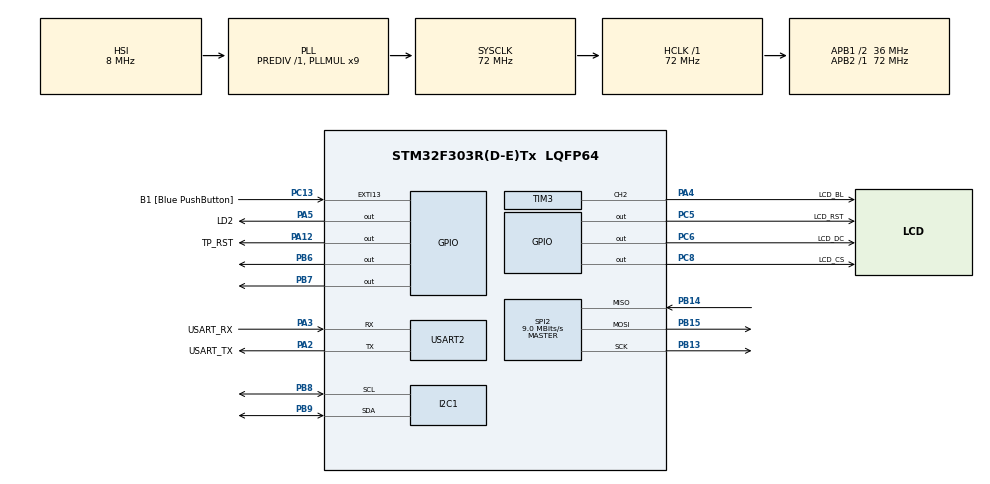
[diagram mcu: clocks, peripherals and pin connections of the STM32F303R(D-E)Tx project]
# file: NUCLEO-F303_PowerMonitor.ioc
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Dma.Request0=SPI2_TX
Dma.SPI2_TX.0.Direction=DMA_MEMORY_TO_PERIPH
Dma.SPI2_TX.0.Instance=DMA1_Channel5
Dma.SPI2_TX.0.MemDataAlignment=DMA_MDATAALIGN_BYTE
Dma.SPI2_TX.0.MemInc=DMA_MINC_ENABLE
Dma.SPI2_TX.0.Mode=DMA_NORMAL
Dma.SPI2_TX.0.PeriphDataAlignment=DMA_PDATAALIGN_BYTE
Dma.SPI2_TX.0.PeriphInc=DMA_PINC_DISABLE
Dma.SPI2_TX.0.Priority=DMA_PRIORITY_LOW
I2C1.Timing=0x00201D2B
Mcu.Family=STM32F3
Mcu.Name=STM32F303R(D-E)Tx
Mcu.Package=LQFP64
NVIC.DMA1_Channel5_IRQn=true\:0\:0\:false\:false\:true\:false\:true\:true
NVIC.PriorityGroup=NVIC_PRIORITYGROUP_0
PA12.GPIO_Label=TP_RST
PA12.Signal=GPIO_Output
PA13.GPIO_Label=TMS
PA13.Mode=Serial_Wire
PA13.Signal=SYS_JTMS-SWDIO
PA14.GPIO_Label=TCK
PA14.Mode=Serial_Wire
PA14.Signal=SYS_JTCK-SWCLK
PA2.GPIO_Label=USART_TX
PA2.GPIO_Mode=GPIO_MODE_AF_PP
PA2.GPIO_PuPd=GPIO_NOPULL
PA2.GPIO_Speed=GPIO_SPEED_FREQ_LOW
PA2.Mode=Asynchronous
PA2.Signal=USART2_TX
PA3.GPIO_Label=USART_RX
PA3.GPIO_Mode=GPIO_MODE_AF_PP
PA3.GPIO_PuPd=GPIO_NOPULL
PA3.GPIO_Speed=GPIO_SPEED_FREQ_LOW
PA3.Mode=Asynchronous
PA3.Signal=USART2_RX
PA4.GPIO_Label=LCD_BL
PA4.Signal=S_TIM3_CH2
PA5.GPIO_Label=LD2
PA5.Signal=GPIO_Output
PB13.Mode=Full_Duplex_Master
PB13.Signal=SPI2_SCK
PB14.Mode=Full_Duplex_Master
PB14.Signal=SPI2_MISO
PB15.Mode=Full_Duplex_Master
PB15.Signal=SPI2_MOSI
PB3.GPIO_Label=SWO
PB3.Signal=SYS_JTDO-TRACESWO
PB6.Signal=GPIO_Output
PB7.Signal=GPIO_Output
PB8.GPIO_Pu=GPIO_NOPULL
PB8.Mode=I2C
PB8.Signal=I2C1_SCL
PB9.GPIO_Pu=GPIO_NOPULL
PB9.Mode=I2C
PB9.Signal=I2C1_SDA
PC13.GPIO_Label=B1 [Blue PushButton]
PC13.GPIO_ModeDefaultEXTI=GPIO_MODE_IT_FALLING
PC13.Signal=GPXTI13
PC14-OSC32_IN.Mode=LSE-External-Oscillator
PC14-OSC32_IN.Signal=RCC_OSC32_IN
PC15-OSC32_OUT.Mode=LSE-External-Oscillator
PC15-OSC32_OUT.Signal=RCC_OSC32_OUT
PC5.GPIO_Label=LCD_RST
PC5.GPIO_Speed=GPIO_SPEED_FREQ_HIGH
PC5.Signal=GPIO_Output
PC6.GPIO_Label=LCD_DC
PC6.GPIO_Speed=GPIO_SPEED_FREQ_HIGH
PC6.Signal=GPIO_Output
PC8.GPIO_Label=LCD_CS
PC8.GPIO_Speed=GPIO_SPEED_FREQ_HIGH
PC8.Signal=GPIO_Output
PF0-OSC_IN.Mode=HSE-External-Clock-Source
PF0-OSC_IN.Signal=RCC_OSC_IN
PF1-OSC_OUT.Signal=RCC_OSC_OUT
ProjectManager.HeapSize=0x200
ProjectManager.StackSize=0x400
ProjectManager.TargetToolchain=CMake
RCC.AHBFreq_Value=72000000
RCC.APB1CLKDivider=RCC_HCLK_DIV2
RCC.APB1Freq_Value=36000000
RCC.APB1TimFreq_Value=72000000
RCC.APB2Freq_Value=72000000
RCC.APB2TimFreq_Value=72000000
RCC.CortexFreq_Value=72000000
RCC.HCLKFreq_Value=72000000
RCC.HSE_VALUE=8000000
RCC.HSI_VALUE=8000000
RCC.PLLM=8
RCC.PLLMUL=RCC_PLL_MUL9
RCC.PLLN=336
RCC.PLLP=RCC_PLLP_DIV4
RCC.PLLQ=7
RCC.RCC_PLLsource_Clock_Source_FROM_HSE=RCC_HSE_PREDIV_DIV2
RCC.SYSCLKFreq_VALUE=72000000
RCC.SYSCLKSourceVirtual=RCC_SYSCLKSOURCE_PLLCLK
RCC.USBFreq_Value=72000000
SH.S_TIM3_CH2.0=TIM3_CH2,PWM Generation2 CH2
SPI2.BaudRatePrescaler=SPI_BAUDRATEPRESCALER_4
SPI2.CalculateBaudRate=9.0 MBits/s
SPI2.DataSize=SPI_DATASIZE_8BIT
SPI2.Direction=SPI_DIRECTION_2LINES
SPI2.Mode=SPI_MODE_MASTER
SPI2.VirtualType=VM_MASTER
TIM3.Channel-PWM\ Generation2\ CH2=TIM_CHANNEL_2
TIM3.Period=1000-1
TIM3.Prescaler=72-1
TIM3.Pulse-PWM\ Generation2\ CH2=500
USART2.VirtualMode-Asynchronous=VM_ASYNC
VP_TIM3_VS_ClockSourceINT.Mode=Internal
board=NUCLEO-F303RE

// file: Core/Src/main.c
/* USER CODE BEGIN Header */
/**
  ******************************************************************************
  * @file           : main.c
  * @brief          : Main program body
  ******************************************************************************
  * @attention
  *
  * Copyright (c) 2026 STMicroelectronics.
  * All rights reserved.
  *
  * This software is licensed under terms that can be found in the LICENSE file
  * in the root directory of this software component.
  * If no LICENSE file comes with this software, it is provided AS-IS.
  *
  ******************************************************************************
  */
/* USER CODE END Header */
#include "main.h"

/* USER CODE BEGIN Includes */
#include "lv_obj_event.h"
#include "lvgl.h"
#include "Display_Driver.h"
#include "ui.h"
#include "screens.h"
#include "power_sim.h"
#include "ui_events.h"
#include "settings_mgr.h"
#include "stm32f3xx_hal.h"
/* USER CODE END Includes */

I2C_HandleTypeDef hi2c1;

SPI_HandleTypeDef hspi2;
DMA_HandleTypeDef hdma_spi2_tx;

TIM_HandleTypeDef htim3;

UART_HandleTypeDef huart2;

/* USER CODE BEGIN PV */
static uint32_t last_sim_tick = 0;
static uint32_t last_sec_tick = 0;
/* USER CODE END PV */

void SystemClock_Config(void);
static void MX_GPIO_Init(void);
static void MX_DMA_Init(void);
static void MX_I2C1_Init(void);
static void MX_USART2_UART_Init(void);
static void MX_TIM3_Init(void);
static void MX_SPI2_Init(void);

int main(void)
{

  /* MCU Configuration--------------------------------------------------------*/

  /* Reset of all peripherals, Initializes the Flash interface and the Systick. */
  HAL_Init();

  /* Configure the system clock */
  SystemClock_Config();

  /* Initialize all configured peripherals */
  MX_GPIO_Init();
  MX_DMA_Init();
  MX_I2C1_Init();
  MX_USART2_UART_Init();
  MX_TIM3_Init();
  MX_SPI2_Init();
  /* USER CODE BEGIN 2 */
  lv_init();
  Settings_Init(); // Cargar ajustes de la flash al arrancar

  Display_Config_HandleTypeDef disp_cfg = {
    .lcd = {
      .hspi       = &hspi2,
      .CS_Port    = LCD_CS_GPIO_Port,
      .CS_Pin     = LCD_CS_Pin,
      .DC_Port    = LCD_DC_GPIO_Port,
      .DC_Pin     = LCD_DC_Pin,
      .RST_Port   = LCD_RST_GPIO_Port,
      .RST_Pin    = LCD_RST_Pin,
      .htim_bl    = &htim3,
      .Channel_bl = TIM_CHANNEL_2
    },
    .touch = {
      .hi2c       = &hi2c1,
      .RST_Port   = TP_RST_GPIO_Port,
      .RST_Pin    = TP_RST_Pin,
      .INT_Port   = NULL,
      .INT_Pin    = 0
    }
  };

  Display_Init(&disp_cfg);
  Display_SetBrightness(g_user_settings.brightness);

  /* Prueba directa: Pintar la pantalla de azul puro (0x001F) */
  //ST7789_TestFill(0x001F);

  ui_init();
  UI_Events_Init();
  PowerSim_Init();

  /* USER CODE END 2 */

  /* Infinite loop */
  /* USER CODE BEGIN WHILE */

  while (1)
  {
    ui_tick();           /* Manejador de pantallas/animaciones de EEZ Studio */
    lv_timer_handler();  /* Manejador principal de LVGL */

    uint32_t current_tick = HAL_GetTick();

     /* --- HEARTBEAT LED (PA5 / LD2): Destello constante cada 500ms --- */
    static uint32_t last_heartbeat = 0;
    if (current_tick - last_heartbeat >= 500)
    {
        last_heartbeat = current_tick;
        HAL_GPIO_TogglePin(GPIOA, GPIO_PIN_5);
    }

    /* Actualizar lecturas simuladas cada 100ms */
    if (current_tick - last_sim_tick >= 100) {
        uint32_t delta = current_tick - last_sim_tick;
        last_sim_tick = current_tick;
        PowerSim_Update(delta);
        PowerSim_UpdateUI();
    }
    /* Incrementar contador de tiempo (Runtime) cada 1 segundo */
    if (current_tick - last_sec_tick >= 1000) {
        last_sec_tick = current_tick;
        g_power_sim.runtime_sec++;
    }

    HAL_Delay(5);
    /* USER CODE END WHILE */

  }
}

void SystemClock_Config(void)
{
  RCC_OscInitTypeDef RCC_OscInitStruct = {0};
  RCC_ClkInitTypeDef RCC_ClkInitStruct = {0};
  RCC_PeriphCLKInitTypeDef PeriphClkInit = {0};

  /** Initializes the RCC Oscillators according to the specified parameters
  * in the RCC_OscInitTypeDef structure.
  */
  RCC_OscInitStruct.OscillatorType = RCC_OSCILLATORTYPE_HSI;
  RCC_OscInitStruct.HSIState = RCC_HSI_ON;
  RCC_OscInitStruct.HSICalibrationValue = RCC_HSICALIBRATION_DEFAULT;
  RCC_OscInitStruct.PLL.PLLState = RCC_PLL_ON;
  RCC_OscInitStruct.PLL.PLLSource = RCC_PLLSOURCE_HSI;
  RCC_OscInitStruct.PLL.PLLMUL = RCC_PLL_MUL9;
  RCC_OscInitStruct.PLL.PREDIV = RCC_PREDIV_DIV1;
  if (HAL_RCC_OscConfig(&RCC_OscInitStruct) != HAL_OK)
  {
    Error_Handler();
  }

  /** Initializes the CPU, AHB and APB buses clocks
  */
  RCC_ClkInitStruct.ClockType = RCC_CLOCKTYPE_HCLK|RCC_CLOCKTYPE_SYSCLK
                              |RCC_CLOCKTYPE_PCLK1|RCC_CLOCKTYPE_PCLK2;
  RCC_ClkInitStruct.SYSCLKSource = RCC_SYSCLKSOURCE_PLLCLK;
  RCC_ClkInitStruct.AHBCLKDivider = RCC_SYSCLK_DIV1;
  RCC_ClkInitStruct.APB1CLKDivider = RCC_HCLK_DIV2;
  RCC_ClkInitStruct.APB2CLKDivider = RCC_HCLK_DIV1;

  if (HAL_RCC_ClockConfig(&RCC_ClkInitStruct, FLASH_LATENCY_2) != HAL_OK)
  {
    Error_Handler();
  }
  PeriphClkInit.PeriphClockSelection = RCC_PERIPHCLK_USART2|RCC_PERIPHCLK_I2C1
                              |RCC_PERIPHCLK_TIM34;
  PeriphClkInit.Usart2ClockSelection = RCC_USART2CLKSOURCE_PCLK1;
  PeriphClkInit.I2c1ClockSelection = RCC_I2C1CLKSOURCE_HSI;
  PeriphClkInit.Tim34ClockSelection = RCC_TIM34CLK_HCLK;
  if (HAL_RCCEx_PeriphCLKConfig(&PeriphClkInit) != HAL_OK)
  {
    Error_Handler();
  }
}

static void MX_I2C1_Init(void)
{

  hi2c1.Instance = I2C1;
  hi2c1.Init.Timing = 0x00201D2B;
  hi2c1.Init.OwnAddress1 = 0;
  hi2c1.Init.AddressingMode = I2C_ADDRESSINGMODE_7BIT;
  hi2c1.Init.DualAddressMode = I2C_DUALADDRESS_DISABLE;
  hi2c1.Init.OwnAddress2 = 0;
  hi2c1.Init.OwnAddress2Masks = I2C_OA2_NOMASK;
  hi2c1.Init.GeneralCallMode = I2C_GENERALCALL_DISABLE;
  hi2c1.Init.NoStretchMode = I2C_NOSTRETCH_DISABLE;
  if (HAL_I2C_Init(&hi2c1) != HAL_OK)
  {
    Error_Handler();
  }

  /** Configure Analogue filter
  */
  if (HAL_I2CEx_ConfigAnalogFilter(&hi2c1, I2C_ANALOGFILTER_ENABLE) != HAL_OK)
  {
    Error_Handler();
  }

  /** Configure Digital filter
  */
  if (HAL_I2CEx_ConfigDigitalFilter(&hi2c1, 0) != HAL_OK)
  {
    Error_Handler();
  }

}

static void MX_SPI2_Init(void)
{

  /* SPI2 parameter configuration*/
  hspi2.Instance = SPI2;
  hspi2.Init.Mode = SPI_MODE_MASTER;
  hspi2.Init.Direction = SPI_DIRECTION_2LINES;
  hspi2.Init.DataSize = SPI_DATASIZE_8BIT;
  hspi2.Init.CLKPolarity = SPI_POLARITY_LOW;
  hspi2.Init.CLKPhase = SPI_PHASE_1EDGE;
  hspi2.Init.NSS = SPI_NSS_SOFT;
  hspi2.Init.BaudRatePrescaler = SPI_BAUDRATEPRESCALER_4;
  hspi2.Init.FirstBit = SPI_FIRSTBIT_MSB;
  hspi2.Init.TIMode = SPI_TIMODE_DISABLE;
  hspi2.Init.CRCCalculation = SPI_CRCCALCULATION_DISABLE;
  hspi2.Init.CRCPolynomial = 7;
  hspi2.Init.CRCLength = SPI_CRC_LENGTH_DATASIZE;
  hspi2.Init.NSSPMode = SPI_NSS_PULSE_ENABLE;
  if (HAL_SPI_Init(&hspi2) != HAL_OK)
  {
    Error_Handler();
  }

}

static void MX_TIM3_Init(void)
{

  TIM_ClockConfigTypeDef sClockSourceConfig = {0};
  TIM_MasterConfigTypeDef sMasterConfig = {0};
  TIM_OC_InitTypeDef sConfigOC = {0};

  htim3.Instance = TIM3;
  htim3.Init.Prescaler = 72-1;
  htim3.Init.CounterMode = TIM_COUNTERMODE_UP;
  htim3.Init.Period = 1000-1;
  htim3.Init.ClockDivision = TIM_CLOCKDIVISION_DIV1;
  htim3.Init.AutoReloadPreload = TIM_AUTORELOAD_PRELOAD_DISABLE;
  if (HAL_TIM_Base_Init(&htim3) != HAL_OK)
  {
    Error_Handler();
  }
  sClockSourceConfig.ClockSource = TIM_CLOCKSOURCE_INTERNAL;
  if (HAL_TIM_ConfigClockSource(&htim3, &sClockSourceConfig) != HAL_OK)
  {
    Error_Handler();
  }
  if (HAL_TIM_PWM_Init(&htim3) != HAL_OK)
  {
    Error_Handler();
  }
  sMasterConfig.MasterOutputTrigger = TIM_TRGO_RESET;
  sMasterConfig.MasterSlaveMode = TIM_MASTERSLAVEMODE_DISABLE;
  if (HAL_TIMEx_MasterConfigSynchronization(&htim3, &sMasterConfig) != HAL_OK)
  {
    Error_Handler();
  }
  sConfigOC.OCMode = TIM_OCMODE_PWM1;
  sConfigOC.Pulse = 500;
  sConfigOC.OCPolarity = TIM_OCPOLARITY_HIGH;
  sConfigOC.OCFastMode = TIM_OCFAST_DISABLE;
  if (HAL_TIM_PWM_ConfigChannel(&htim3, &sConfigOC, TIM_CHANNEL_2) != HAL_OK)
  {
    Error_Handler();
  }
  HAL_TIM_MspPostInit(&htim3);

}

static void MX_USART2_UART_Init(void)
{

  huart2.Instance = USART2;
  huart2.Init.BaudRate = 38400;
  huart2.Init.WordLength = UART_WORDLENGTH_8B;
  huart2.Init.StopBits = UART_STOPBITS_1;
  huart2.Init.Parity = UART_PARITY_NONE;
  huart2.Init.Mode = UART_MODE_TX_RX;
  huart2.Init.HwFlowCtl = UART_HWCONTROL_NONE;
  huart2.Init.OverSampling = UART_OVERSAMPLING_16;
  huart2.Init.OneBitSampling = UART_ONE_BIT_SAMPLE_DISABLE;
  huart2.AdvancedInit.AdvFeatureInit = UART_ADVFEATURE_NO_INIT;
  if (HAL_UART_Init(&huart2) != HAL_OK)
  {
    Error_Handler();
  }

}

static void MX_DMA_Init(void)
{

  /* DMA controller clock enable */
  __HAL_RCC_DMA1_CLK_ENABLE();

  /* DMA interrupt init */
  /* DMA1_Channel5_IRQn interrupt configuration */
  HAL_NVIC_SetPriority(DMA1_Channel5_IRQn, 0, 0);
  HAL_NVIC_EnableIRQ(DMA1_Channel5_IRQn);

}

static void MX_GPIO_Init(void)
{
  GPIO_InitTypeDef GPIO_InitStruct = {0};

  /* GPIO Ports Clock Enable */
  __HAL_RCC_GPIOC_CLK_ENABLE();
  __HAL_RCC_GPIOF_CLK_ENABLE();
  __HAL_RCC_GPIOA_CLK_ENABLE();
  __HAL_RCC_GPIOB_CLK_ENABLE();

  /*Configure GPIO pin Output Level */
  HAL_GPIO_WritePin(GPIOA, LD2_Pin|TP_RST_Pin, GPIO_PIN_RESET);

  /*Configure GPIO pin Output Level */
  HAL_GPIO_WritePin(GPIOC, LCD_RST_Pin|LCD_DC_Pin|LCD_CS_Pin, GPIO_PIN_RESET);

  /*Configure GPIO pin Output Level */
  HAL_GPIO_WritePin(GPIOB, GPIO_PIN_6|GPIO_PIN_7, GPIO_PIN_RESET);

  /*Configure GPIO pin : B1_Pin */
  GPIO_InitStruct.Pin = B1_Pin;
  GPIO_InitStruct.Mode = GPIO_MODE_IT_FALLING;
  GPIO_InitStruct.Pull = GPIO_NOPULL;
  HAL_GPIO_Init(B1_GPIO_Port, &GPIO_InitStruct);

  /*Configure GPIO pins : LD2_Pin TP_RST_Pin */
  GPIO_InitStruct.Pin = LD2_Pin|TP_RST_Pin;
  GPIO_InitStruct.Mode = GPIO_MODE_OUTPUT_PP;
  GPIO_InitStruct.Pull = GPIO_NOPULL;
  GPIO_InitStruct.Speed = GPIO_SPEED_FREQ_LOW;
  HAL_GPIO_Init(GPIOA, &GPIO_InitStruct);

  /*Configure GPIO pins : LCD_RST_Pin LCD_DC_Pin LCD_CS_Pin */
  GPIO_InitStruct.Pin = LCD_RST_Pin|LCD_DC_Pin|LCD_CS_Pin;
  GPIO_InitStruct.Mode = GPIO_MODE_OUTPUT_PP;
  GPIO_InitStruct.Pull = GPIO_NOPULL;
  GPIO_InitStruct.Speed = GPIO_SPEED_FREQ_HIGH;
  HAL_GPIO_Init(GPIOC, &GPIO_InitStruct);

  /*Configure GPIO pins : PB6 PB7 */
  GPIO_InitStruct.Pin = GPIO_PIN_6|GPIO_PIN_7;
  GPIO_InitStruct.Mode = GPIO_MODE_OUTPUT_PP;
  GPIO_InitStruct.Pull = GPIO_NOPULL;
  GPIO_InitStruct.Speed = GPIO_SPEED_FREQ_LOW;
  HAL_GPIO_Init(GPIOB, &GPIO_InitStruct);

}

void Error_Handler(void)
{
  /* USER CODE BEGIN Error_Handler_Debug */
  /* User can add his own implementation to report the HAL error return state */
  __disable_irq();
  while (1)
  {
    HAL_GPIO_TogglePin(GPIOA, GPIO_PIN_5); // Parpadeo lento del LED LD2
    for(volatile int i = 0; i < 300000; i++);
  }
  /* USER CODE END Error_Handler_Debug */
}
